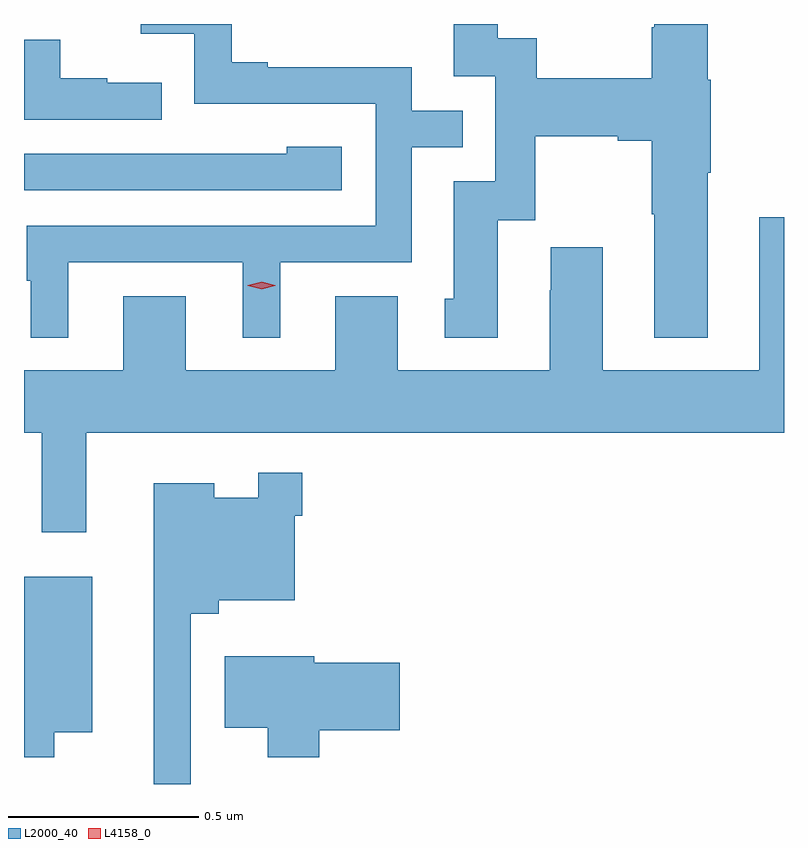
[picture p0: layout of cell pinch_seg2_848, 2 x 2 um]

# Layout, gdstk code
import gdstk
lib = gdstk.Library(unit=1e-6, precision=1e-09)
def P(c, l, *ps):  # polygons
    for p in ps: c.add(gdstk.Polygon(p, *l))
L2000_40 = (2000, 40)
L4158_0 = (4158, 0)

pinch_seg2_848 = lib.new_cell('pinch_seg2_848')
P(pinch_seg2_848, L2000_40, [(727.075,613.688),(727.083,613.688),(727.083,613.932),(727.075,613.932),(727.075,614.079),(726.935,614.079),(726.935,614.07),(726.928,614.07),(726.928,613.936),(726.625,613.936),(726.625,614.042),(726.523,614.042),(726.523,614.079),(726.407,614.079),(726.407,613.941),(726.516,613.941),(726.516,613.665),(726.407,613.665),(726.407,613.356),(726.383,613.356),(726.383,613.254),(726.523,613.254),(726.523,613.562),(726.621,613.562),(726.621,613.784),(726.839,613.784),(726.839,613.772),(726.928,613.772),(726.928,613.579),(726.935,613.579),(726.935,613.253),(727.075,613.253)],
  [(725.392,613.452),(725.852,613.452),(725.852,613.253),(725.95,613.253),(725.95,613.452),(726.297,613.452),(726.297,613.755),(726.431,613.755),(726.431,613.851),(726.297,613.851),(726.297,613.965),(725.917,613.965),(725.917,613.978),(725.823,613.978),(725.823,614.079),(725.583,614.079),(725.583,614.054),(725.724,614.054),(725.724,613.869),(726.201,613.869),(726.201,613.548),(725.283,613.548),(725.283,613.404),(725.294,613.404),(725.294,613.253),(725.392,613.253)],
  [(725.639,613.924),(725.495,613.924),(725.495,613.936),(725.372,613.936),(725.372,614.037),(725.276,614.037),(725.276,613.827),(725.639,613.827)],
  [(726.112,613.756),(725.967,613.756),(725.967,613.738),(725.731,613.738),(725.731,613.737),(725.276,613.737),(725.276,613.641),(726.112,613.641)],
  [(727.276,613.57),(727.211,613.57),(727.211,613.168),(726.799,613.168),(726.799,613.492),(726.662,613.492),(726.662,613.379),(726.659,613.379),(726.659,613.168),(726.259,613.168),(726.259,613.363),(726.095,613.363),(726.095,613.168),(725.701,613.168),(725.701,613.363),(725.537,613.363),(725.537,613.168),(725.276,613.168),(725.276,613.004),(725.323,613.004),(725.323,612.741),(725.44,612.741),(725.44,613.004),(727.276,613.004)],
  [(725.715,612.527),(725.789,612.527),(725.789,612.563),(725.988,612.563),(725.988,612.785),(726.008,612.785),(726.008,612.898),(725.892,612.898),(725.892,612.832),(725.776,612.832),(725.776,612.871),(725.618,612.871),(725.618,612.079),(725.715,612.079)],
  [(725.356,612.215),(725.455,612.215),(725.455,612.625),(725.276,612.625),(725.276,612.15),(725.356,612.15)],
  [(726.053,612.22),(726.265,612.22),(726.265,612.398),(726.04,612.398),(726.04,612.415),(725.804,612.415),(725.804,612.227),(725.918,612.227),(725.918,612.149),(726.053,612.149)])
P(pinch_seg2_848, L4158_0, [(725.901,613.381),(725.865,613.39),(725.865,613.391),(725.865,613.391),(725.901,613.401),(725.937,613.391),(725.937,613.391),(725.937,613.39)])

lib.write_gds('pinch_seg2_848.gds')
